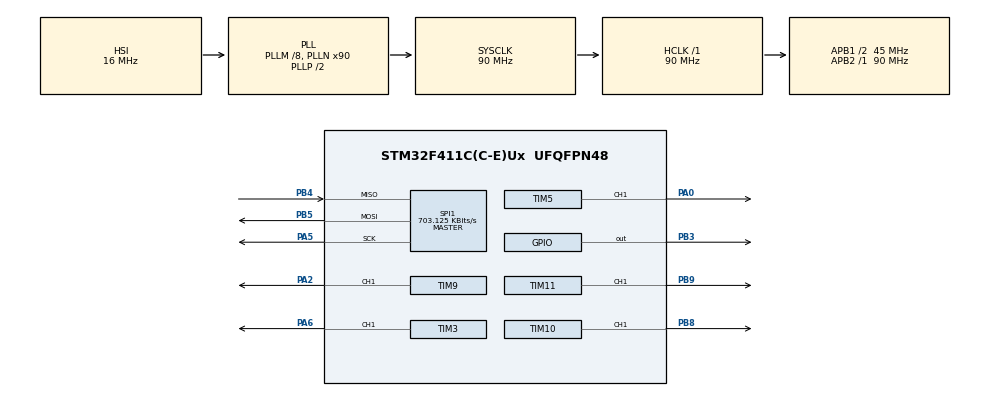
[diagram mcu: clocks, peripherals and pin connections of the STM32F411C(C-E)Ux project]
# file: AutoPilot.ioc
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Mcu.Family=STM32F4
TIM10.Prescaler=27
VP_TIM5_VS_ClockSourceINT.Mode=Internal
TIM9.Channel-PWM\ Generation1\ CH1=TIM_CHANNEL_1
RCC.CortexFreq_Value=90000000
SPI1.VirtualType=VM_MASTER
SPI1.CLKPhase=SPI_PHASE_1EDGE
TIM11.Prescaler=27
RCC.APB1CLKDivider=RCC_HCLK_DIV2
RCC.SYSCLKSource=RCC_SYSCLKSOURCE_PLLCLK
ProjectManager.StackSize=0x400
PA0-WKUP.Signal=S_TIM5_CH1
VP_TIM11_VS_ClockSourceINT.Mode=Enable_Timer
TIM3.Pulse-PWM\ Generation1\ CH1=6553
SPI1.CLKPolarity=SPI_POLARITY_LOW
ProjectManager.TargetToolchain=STM32CubeIDE
PB3.PinState=GPIO_PIN_SET
SPI1.Direction=SPI_DIRECTION_2LINES
RCC.HCLKFreq_Value=90000000
RCC.APB2TimFreq_Value=90000000
VP_TIM10_VS_ClockSourceINT.Mode=Enable_Timer
TIM3.OC1Preload_PWM=DISABLE
SPI1.CalculateBaudRate=703.125 KBits/s
RCC.LSE_VALUE=32768
RCC.AHBFreq_Value=90000000
TIM3.Channel-PWM\ Generation1\ CH1=TIM_CHANNEL_1
PA5.Signal=SPI1_SCK
RCC.HSE_VALUE=25000000
TIM11.Pulse=6553
board=custom
RCC.VCOOutputFreq_Value=180000000
TIM10.Channel=TIM_CHANNEL_1
VP_TIM9_VS_ClockSourceINT.Mode=Internal
RCC.APB2Freq_Value=90000000
PB4.Mode=Full_Duplex_Master
TIM10.Pulse=6553
SPI1.Mode=SPI_MODE_MASTER
TIM3.Prescaler=27
PB5.Mode=Full_Duplex_Master
SH.S_TIM9_CH1.0=TIM9_CH1,PWM Generation1 CH1
SH.S_TIM3_CH1.0=TIM3_CH1,PWM Generation1 CH1
Mcu.Name=STM32F411C(C-E)Ux
TIM9.Pulse-PWM\ Generation1\ CH1=6553
PA2.Signal=S_TIM9_CH1
TIM9.Prescaler=27
TIM11.OC1Preload_PWM=DISABLE
RCC.48MHZClocksFreq_Value=45000000
PB3.Signal=GPIO_Output
RCC.SYSCLKFreq_VALUE=90000000
PB9.Signal=S_TIM11_CH1
PB5.Signal=SPI1_MOSI
Mcu.Package=UFQFPN48
PA6.Signal=S_TIM3_CH1
TIM10.OC1Preload_PWM=DISABLE
SH.S_TIM10_CH1.0=TIM10_CH1,PWM Generation1 CH1
TIM5.Channel-PWM\ Generation1\ CH1=TIM_CHANNEL_1
ProjectManager.HeapSize=0x200
RCC.HSI_VALUE=16000000
NVIC.PriorityGroup=NVIC_PRIORITYGROUP_4
RCC.PLLM=8
RCC.PLLN=90
TIM11.Channel=TIM_CHANNEL_1
RCC.APB1TimFreq_Value=90000000
PB8.Signal=S_TIM10_CH1
SH.S_TIM5_CH1.0=TIM5_CH1,PWM Generation1 CH1
RCC.APB1Freq_Value=45000000
SH.S_TIM11_CH1.0=TIM11_CH1,PWM Generation1 CH1
SPI1.BaudRatePrescaler=SPI_BAUDRATEPRESCALER_128
VP_TIM3_VS_ClockSourceINT.Mode=Internal
PB4.Signal=SPI1_MISO
PA5.Mode=Full_Duplex_Master

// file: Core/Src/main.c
/* USER CODE BEGIN Header */
/**
  ******************************************************************************
  * @file           : main.c
  * @brief          : Main program body
  ******************************************************************************
  * @attention
  *
  * <h2><center>&copy; Copyright (c) 2021 STMicroelectronics.
  * All rights reserved.</center></h2>
  *
  * This software component is licensed by ST under BSD 3-Clause license,
  * the "License"; You may not use this file except in compliance with the
  * License. You may obtain a copy of the License at:
  *                        opensource.org/licenses/BSD-3-Clause
  *
  ******************************************************************************
  */
/* USER CODE END Header */
#include "main.h"

/* USER CODE BEGIN Includes */
#include "MPU9250.h"
#include "spi.h"
/* USER CODE END Includes */

SPI_HandleTypeDef hspi1;

TIM_HandleTypeDef htim3;
TIM_HandleTypeDef htim5;
TIM_HandleTypeDef htim9;
TIM_HandleTypeDef htim10;
TIM_HandleTypeDef htim11;

void SystemClock_Config(void);
static void MX_GPIO_Init(void);
static void MX_TIM3_Init(void);
static void MX_TIM5_Init(void);
static void MX_TIM9_Init(void);
static void MX_TIM10_Init(void);
static void MX_TIM11_Init(void);
static void MX_SPI1_Init(void);

int main(void)
{
  /* USER CODE BEGIN 1 */
	int16_t AccData[3], GyroData[3], MagData[3];
  /* USER CODE END 1 */

  /* MCU Configuration--------------------------------------------------------*/

  /* Reset of all peripherals, Initializes the Flash interface and the Systick. */
  HAL_Init();

  /* Configure the system clock */
  SystemClock_Config();

  /* Initialize all configured peripherals */
  MX_GPIO_Init();
  MX_TIM3_Init();
  MX_TIM5_Init();
  MX_TIM9_Init();
  MX_TIM10_Init();
  MX_TIM11_Init();
  MX_SPI1_Init();
  /* USER CODE BEGIN 2 */

  //Initialize the MPU 9250 module
 // MPU9250_Init(&hi2c1);
  //Configures the IMU
 // mpu_config.Accel_Full_Scale=AFS_SEL_4g;//Scale accelerometer 2g will be more accurate
 // mpu_config.CONFIG_DLPF=DLPF_184A_188G_Hz; //Low pass digital filter
 // mpu_config.ClockSource=Internal_8MHz;//Internal clock source
 // mpu_config.Gyro_Full_Scale=FS_SEL_500;//Gyro scale
 // mpu_config.Sleep_Mode_Bit=0;//Not in sleep mode
 // MPU9250_Config(&mpu_config);

  //PWM Configuration and Initialization
  HAL_TIM_PWM_Start(&htim3, TIM_CHANNEL_1);//init timer 3 -->PA6
  HAL_TIM_PWM_Start(&htim10, TIM_CHANNEL_1);//init timer 10 -->PB8
  HAL_TIM_PWM_Start(&htim9, TIM_CHANNEL_1);//init timer 9 -->PA2
  HAL_TIM_PWM_Start(&htim11, TIM_CHANNEL_1);//init timer 11 -->PB9
  MPU9250_Init();

  /* USER CODE END 2 */

  /* Infinite loop */
  while (1)
  {

    /* USER CODE BEGIN 3 */
	  //GenerateCompareValueForPWMMotorControl();
  }
  /* USER CODE END 3 */
}

void SystemClock_Config(void)
{
  RCC_OscInitTypeDef RCC_OscInitStruct = {0};
  RCC_ClkInitTypeDef RCC_ClkInitStruct = {0};

  /** Configure the main internal regulator output voltage
  */
  __HAL_RCC_PWR_CLK_ENABLE();
  __HAL_PWR_VOLTAGESCALING_CONFIG(PWR_REGULATOR_VOLTAGE_SCALE1);
  /** Initializes the RCC Oscillators according to the specified parameters
  * in the RCC_OscInitTypeDef structure.
  */
  RCC_OscInitStruct.OscillatorType = RCC_OSCILLATORTYPE_HSI;
  RCC_OscInitStruct.HSIState = RCC_HSI_ON;
  RCC_OscInitStruct.HSICalibrationValue = RCC_HSICALIBRATION_DEFAULT;
  RCC_OscInitStruct.PLL.PLLState = RCC_PLL_ON;
  RCC_OscInitStruct.PLL.PLLSource = RCC_PLLSOURCE_HSI;
  RCC_OscInitStruct.PLL.PLLM = 8;
  RCC_OscInitStruct.PLL.PLLN = 90;
  RCC_OscInitStruct.PLL.PLLP = RCC_PLLP_DIV2;
  RCC_OscInitStruct.PLL.PLLQ = 4;
  if (HAL_RCC_OscConfig(&RCC_OscInitStruct) != HAL_OK)
  {
    Error_Handler();
  }
  /** Initializes the CPU, AHB and APB buses clocks
  */
  RCC_ClkInitStruct.ClockType = RCC_CLOCKTYPE_HCLK|RCC_CLOCKTYPE_SYSCLK
                              |RCC_CLOCKTYPE_PCLK1|RCC_CLOCKTYPE_PCLK2;
  RCC_ClkInitStruct.SYSCLKSource = RCC_SYSCLKSOURCE_PLLCLK;
  RCC_ClkInitStruct.AHBCLKDivider = RCC_SYSCLK_DIV1;
  RCC_ClkInitStruct.APB1CLKDivider = RCC_HCLK_DIV2;
  RCC_ClkInitStruct.APB2CLKDivider = RCC_HCLK_DIV1;

  if (HAL_RCC_ClockConfig(&RCC_ClkInitStruct, FLASH_LATENCY_2) != HAL_OK)
  {
    Error_Handler();
  }
}

static void MX_SPI1_Init(void)
{

  /* SPI1 parameter configuration*/
  hspi1.Instance = SPI1;
  hspi1.Init.Mode = SPI_MODE_MASTER;
  hspi1.Init.Direction = SPI_DIRECTION_2LINES;
  hspi1.Init.DataSize = SPI_DATASIZE_8BIT;
  hspi1.Init.CLKPolarity = SPI_POLARITY_LOW;
  hspi1.Init.CLKPhase = SPI_PHASE_1EDGE;
  hspi1.Init.NSS = SPI_NSS_SOFT;
  hspi1.Init.BaudRatePrescaler = SPI_BAUDRATEPRESCALER_128;
  hspi1.Init.FirstBit = SPI_FIRSTBIT_MSB;
  hspi1.Init.TIMode = SPI_TIMODE_DISABLE;
  hspi1.Init.CRCCalculation = SPI_CRCCALCULATION_DISABLE;
  hspi1.Init.CRCPolynomial = 10;
  if (HAL_SPI_Init(&hspi1) != HAL_OK)
  {
    Error_Handler();
  }

}

static void MX_TIM3_Init(void)
{

  TIM_ClockConfigTypeDef sClockSourceConfig = {0};
  TIM_MasterConfigTypeDef sMasterConfig = {0};
  TIM_OC_InitTypeDef sConfigOC = {0};

  htim3.Instance = TIM3;
  htim3.Init.Prescaler = 27;
  htim3.Init.CounterMode = TIM_COUNTERMODE_UP;
  htim3.Init.Period = 65535;
  htim3.Init.ClockDivision = TIM_CLOCKDIVISION_DIV1;
  htim3.Init.AutoReloadPreload = TIM_AUTORELOAD_PRELOAD_DISABLE;
  if (HAL_TIM_Base_Init(&htim3) != HAL_OK)
  {
    Error_Handler();
  }
  sClockSourceConfig.ClockSource = TIM_CLOCKSOURCE_INTERNAL;
  if (HAL_TIM_ConfigClockSource(&htim3, &sClockSourceConfig) != HAL_OK)
  {
    Error_Handler();
  }
  if (HAL_TIM_PWM_Init(&htim3) != HAL_OK)
  {
    Error_Handler();
  }
  sMasterConfig.MasterOutputTrigger = TIM_TRGO_RESET;
  sMasterConfig.MasterSlaveMode = TIM_MASTERSLAVEMODE_DISABLE;
  if (HAL_TIMEx_MasterConfigSynchronization(&htim3, &sMasterConfig) != HAL_OK)
  {
    Error_Handler();
  }
  sConfigOC.OCMode = TIM_OCMODE_PWM1;
  sConfigOC.Pulse = 6553;
  sConfigOC.OCPolarity = TIM_OCPOLARITY_HIGH;
  sConfigOC.OCFastMode = TIM_OCFAST_DISABLE;
  if (HAL_TIM_PWM_ConfigChannel(&htim3, &sConfigOC, TIM_CHANNEL_1) != HAL_OK)
  {
    Error_Handler();
  }
  __HAL_TIM_DISABLE_OCxPRELOAD(&htim3, TIM_CHANNEL_1);
  HAL_TIM_MspPostInit(&htim3);

}

static void MX_TIM5_Init(void)
{

  TIM_ClockConfigTypeDef sClockSourceConfig = {0};
  TIM_MasterConfigTypeDef sMasterConfig = {0};
  TIM_OC_InitTypeDef sConfigOC = {0};

  htim5.Instance = TIM5;
  htim5.Init.Prescaler = 0;
  htim5.Init.CounterMode = TIM_COUNTERMODE_UP;
  htim5.Init.Period = 4294967295;
  htim5.Init.ClockDivision = TIM_CLOCKDIVISION_DIV1;
  htim5.Init.AutoReloadPreload = TIM_AUTORELOAD_PRELOAD_DISABLE;
  if (HAL_TIM_Base_Init(&htim5) != HAL_OK)
  {
    Error_Handler();
  }
  sClockSourceConfig.ClockSource = TIM_CLOCKSOURCE_INTERNAL;
  if (HAL_TIM_ConfigClockSource(&htim5, &sClockSourceConfig) != HAL_OK)
  {
    Error_Handler();
  }
  if (HAL_TIM_PWM_Init(&htim5) != HAL_OK)
  {
    Error_Handler();
  }
  sMasterConfig.MasterOutputTrigger = TIM_TRGO_RESET;
  sMasterConfig.MasterSlaveMode = TIM_MASTERSLAVEMODE_DISABLE;
  if (HAL_TIMEx_MasterConfigSynchronization(&htim5, &sMasterConfig) != HAL_OK)
  {
    Error_Handler();
  }
  sConfigOC.OCMode = TIM_OCMODE_PWM1;
  sConfigOC.Pulse = 0;
  sConfigOC.OCPolarity = TIM_OCPOLARITY_HIGH;
  sConfigOC.OCFastMode = TIM_OCFAST_DISABLE;
  if (HAL_TIM_PWM_ConfigChannel(&htim5, &sConfigOC, TIM_CHANNEL_1) != HAL_OK)
  {
    Error_Handler();
  }
  HAL_TIM_MspPostInit(&htim5);

}

static void MX_TIM9_Init(void)
{

  TIM_ClockConfigTypeDef sClockSourceConfig = {0};
  TIM_OC_InitTypeDef sConfigOC = {0};

  htim9.Instance = TIM9;
  htim9.Init.Prescaler = 27;
  htim9.Init.CounterMode = TIM_COUNTERMODE_UP;
  htim9.Init.Period = 65535;
  htim9.Init.ClockDivision = TIM_CLOCKDIVISION_DIV1;
  htim9.Init.AutoReloadPreload = TIM_AUTORELOAD_PRELOAD_DISABLE;
  if (HAL_TIM_Base_Init(&htim9) != HAL_OK)
  {
    Error_Handler();
  }
  sClockSourceConfig.ClockSource = TIM_CLOCKSOURCE_INTERNAL;
  if (HAL_TIM_ConfigClockSource(&htim9, &sClockSourceConfig) != HAL_OK)
  {
    Error_Handler();
  }
  if (HAL_TIM_PWM_Init(&htim9) != HAL_OK)
  {
    Error_Handler();
  }
  sConfigOC.OCMode = TIM_OCMODE_PWM1;
  sConfigOC.Pulse = 6553;
  sConfigOC.OCPolarity = TIM_OCPOLARITY_HIGH;
  sConfigOC.OCFastMode = TIM_OCFAST_DISABLE;
  if (HAL_TIM_PWM_ConfigChannel(&htim9, &sConfigOC, TIM_CHANNEL_1) != HAL_OK)
  {
    Error_Handler();
  }
  HAL_TIM_MspPostInit(&htim9);

}

static void MX_TIM10_Init(void)
{

  TIM_OC_InitTypeDef sConfigOC = {0};

  htim10.Instance = TIM10;
  htim10.Init.Prescaler = 27;
  htim10.Init.CounterMode = TIM_COUNTERMODE_UP;
  htim10.Init.Period = 65535;
  htim10.Init.ClockDivision = TIM_CLOCKDIVISION_DIV1;
  htim10.Init.AutoReloadPreload = TIM_AUTORELOAD_PRELOAD_DISABLE;
  if (HAL_TIM_Base_Init(&htim10) != HAL_OK)
  {
    Error_Handler();
  }
  if (HAL_TIM_PWM_Init(&htim10) != HAL_OK)
  {
    Error_Handler();
  }
  sConfigOC.OCMode = TIM_OCMODE_PWM1;
  sConfigOC.Pulse = 6553;
  sConfigOC.OCPolarity = TIM_OCPOLARITY_HIGH;
  sConfigOC.OCFastMode = TIM_OCFAST_DISABLE;
  if (HAL_TIM_PWM_ConfigChannel(&htim10, &sConfigOC, TIM_CHANNEL_1) != HAL_OK)
  {
    Error_Handler();
  }
  __HAL_TIM_DISABLE_OCxPRELOAD(&htim10, TIM_CHANNEL_1);
  HAL_TIM_MspPostInit(&htim10);

}

static void MX_TIM11_Init(void)
{

  TIM_OC_InitTypeDef sConfigOC = {0};

  htim11.Instance = TIM11;
  htim11.Init.Prescaler = 27;
  htim11.Init.CounterMode = TIM_COUNTERMODE_UP;
  htim11.Init.Period = 65535;
  htim11.Init.ClockDivision = TIM_CLOCKDIVISION_DIV1;
  htim11.Init.AutoReloadPreload = TIM_AUTORELOAD_PRELOAD_DISABLE;
  if (HAL_TIM_Base_Init(&htim11) != HAL_OK)
  {
    Error_Handler();
  }
  if (HAL_TIM_PWM_Init(&htim11) != HAL_OK)
  {
    Error_Handler();
  }
  sConfigOC.OCMode = TIM_OCMODE_PWM1;
  sConfigOC.Pulse = 6553;
  sConfigOC.OCPolarity = TIM_OCPOLARITY_HIGH;
  sConfigOC.OCFastMode = TIM_OCFAST_DISABLE;
  if (HAL_TIM_PWM_ConfigChannel(&htim11, &sConfigOC, TIM_CHANNEL_1) != HAL_OK)
  {
    Error_Handler();
  }
  __HAL_TIM_DISABLE_OCxPRELOAD(&htim11, TIM_CHANNEL_1);
  HAL_TIM_MspPostInit(&htim11);

}

static void MX_GPIO_Init(void)
{
  GPIO_InitTypeDef GPIO_InitStruct = {0};

  /* GPIO Ports Clock Enable */
  __HAL_RCC_GPIOA_CLK_ENABLE();
  __HAL_RCC_GPIOB_CLK_ENABLE();

  /*Configure GPIO pin Output Level */
  HAL_GPIO_WritePin(GPIOB, GPIO_PIN_3, GPIO_PIN_SET);

  /*Configure GPIO pin : PB3 */
  GPIO_InitStruct.Pin = GPIO_PIN_3;
  GPIO_InitStruct.Mode = GPIO_MODE_OUTPUT_PP;
  GPIO_InitStruct.Pull = GPIO_NOPULL;
  GPIO_InitStruct.Speed = GPIO_SPEED_FREQ_LOW;
  HAL_GPIO_Init(GPIOB, &GPIO_InitStruct);

}

/* USER CODE BEGIN 4 */

void PwmESCMotorSetConfiguration(TIM_HandleTypeDef timer)
{
	//start PWM 1 --Timer 3
	HAL_Delay(4000);//wait for one second
	__HAL_TIM_SET_COMPARE(&timer,TIM_CHANNEL_1,6554);//set the maximum value to 2ms
	HAL_Delay(3000);//wait for for around 5 seconds
	__HAL_TIM_SET_COMPARE(&timer,TIM_CHANNEL_1,3277);//set the minimum value to 1ms
	HAL_Delay(5000);//wait for 2  second
}

void GenerateCompareValueForPWMMotorControl(void)
{
	unsigned char inputFromDipSwitch=0;
	inputFromDipSwitch |= (!HAL_GPIO_ReadPin(GPIOB, GPIO_PIN_12) << 0);
	inputFromDipSwitch |= (!HAL_GPIO_ReadPin(GPIOB, GPIO_PIN_13) << 1);
	inputFromDipSwitch |= (!HAL_GPIO_ReadPin(GPIOB, GPIO_PIN_14) << 2);
	inputFromDipSwitch |= (!HAL_GPIO_ReadPin(GPIOB, GPIO_PIN_15) << 3);

	int pwmCounterCompareResult=219*inputFromDipSwitch+3277;
	__HAL_TIM_SET_COMPARE(&htim3,TIM_CHANNEL_1,pwmCounterCompareResult);
}

void GeneratePWMForRotor(TIM_HandleTypeDef timer,int counts)
{
	__HAL_TIM_SET_COMPARE(&timer,TIM_CHANNEL_1,counts);
}

int GenerateCountsPerRotor()
{
	int counts=0;//Equation to be defined
	return counts;
}

/* USER CODE END 4 */

void Error_Handler(void)
{
  __disable_irq();
  while (1)
  {
  }
}

/************************ (C) COPYRIGHT STMicroelectronics *****END OF FILE****/
